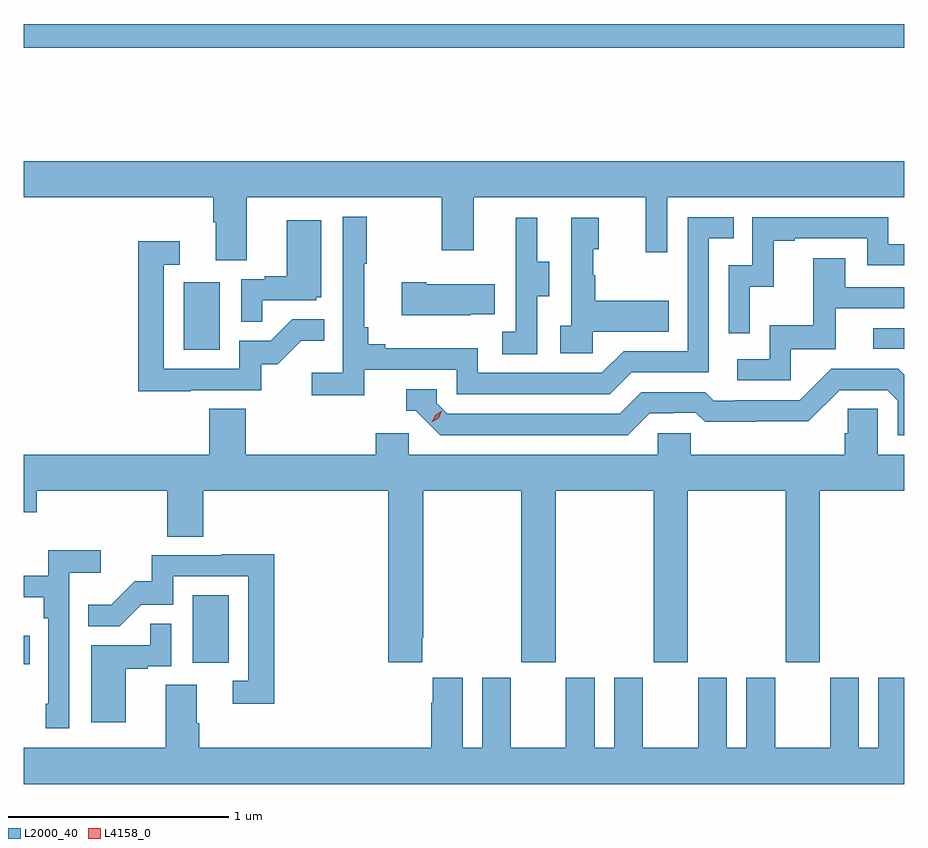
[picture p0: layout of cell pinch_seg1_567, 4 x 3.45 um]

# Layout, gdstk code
import gdstk
lib = gdstk.Library(unit=1e-6, precision=1e-09)
def R(c, l, rs):  # rectangles x0, y0, x1, y1
    for r in rs: c.add(gdstk.rectangle(r[:2], r[2:], *l))
def P(c, l, *ps):  # polygons
    for p in ps: c.add(gdstk.Polygon(p, *l))
L2000_40 = (2000, 40)
L4158_0 = (4158, 0)

pinch_seg1_567 = lib.new_cell('pinch_seg1_567')
R(pinch_seg1_567, L2000_40, [(1028.396,518.977,1028.423,519.106), (1029.164,518.982,1029.328,519.289), (1029.122,520.404,1029.286,520.711), (1032.255,520.41,1032.396,520.503), (1028.396,521.776,1032.396,521.884)])
P(pinch_seg1_567, L2000_40, [(1029.409,521.096),(1030.294,521.096),(1030.294,520.857),(1030.441,520.857),(1030.441,521.096),(1031.222,521.096),(1031.222,520.847),(1031.319,520.847),(1031.319,521.096),(1032.396,521.096),(1032.396,521.26),(1028.396,521.26),(1028.396,521.096),(1029.257,521.096),(1029.257,520.984),(1029.269,520.984),(1029.269,520.81),(1029.409,520.81)],
  [(1029.944,520.314),(1030.362,520.314),(1030.362,520.203),(1031.059,520.203),(1031.158,520.302),(1031.508,520.302),(1031.508,520.911),(1031.621,520.911),(1031.621,521.007),(1031.412,521.007),(1031.412,520.398),(1031.121,520.398),(1031.022,520.299),(1030.458,520.299),(1030.458,520.411),(1030.039,520.411),(1030.039,520.43),(1029.962,520.43),(1029.962,520.507),(1029.943,520.507),(1029.943,520.795),(1029.955,520.795),(1029.955,521.008),(1029.846,521.008),(1029.846,520.3),(1029.705,520.3),(1029.705,520.198),(1029.944,520.198)],
  [(1031.694,520.691),(1031.804,520.691),(1031.804,520.899),(1031.899,520.899),(1031.899,520.911),(1032.228,520.911),(1032.228,520.788),(1032.396,520.788),(1032.396,520.884),(1032.324,520.884),(1032.324,521.007),(1031.706,521.007),(1031.706,520.788),(1031.598,520.788),(1031.598,520.479),(1031.694,520.479)],
  [(1030.728,520.648),(1030.783,520.648),(1030.783,520.803),(1030.729,520.803),(1030.729,521.005),(1030.631,521.005),(1030.631,520.791),(1030.632,520.791),(1030.632,520.487),(1030.569,520.487),(1030.569,520.384),(1030.728,520.384)],
  [(1030.98,520.487),(1031.327,520.487),(1031.327,520.627),(1030.993,520.627),(1030.993,520.742),(1030.983,520.742),(1030.983,520.86),(1031.008,520.86),(1031.008,521.005),(1030.884,521.005),(1030.884,520.514),(1030.833,520.514),(1030.833,520.389),(1030.98,520.389)],
  [(1029.479,520.629),(1029.726,520.629),(1029.726,520.644),(1029.748,520.644),(1029.748,520.993),(1029.59,520.993),(1029.59,520.738),(1029.491,520.738),(1029.491,520.725),(1029.384,520.725),(1029.384,520.531),(1029.479,520.531)],
  [(1029.155,520.221),(1029.474,520.221),(1029.474,520.338),(1029.55,520.338),(1029.657,520.445),(1029.761,520.445),(1029.761,520.544),(1029.617,520.544),(1029.519,520.446),(1029.375,520.446),(1029.375,520.317),(1029.033,520.317),(1029.033,520.791),(1029.106,520.791),(1029.106,520.897),(1028.917,520.897),(1028.917,520.216),(1029.155,520.216)],
  [(1031.88,520.407),(1032.085,520.407),(1032.085,520.593),(1032.396,520.593),(1032.396,520.689),(1032.127,520.689),(1032.127,520.819),(1031.983,520.819),(1031.983,520.516),(1031.784,520.516),(1031.784,520.362),(1031.637,520.362),(1031.637,520.266),(1031.88,520.266)],
  [(1030.427,520.565),(1030.535,520.565),(1030.535,520.702),(1030.225,520.702),(1030.225,520.71),(1030.113,520.71),(1030.113,520.562),(1030.427,520.562)],
  [(1031.239,520.116),(1031.346,520.116),(1031.346,520.119),(1031.449,520.119),(1031.491,520.077),(1031.724,520.077),(1031.724,520.079),(1031.96,520.079),(1032.102,520.221),(1032.318,520.221),(1032.366,520.173),(1032.366,520.017),(1032.396,520.017),(1032.396,520.29),(1032.369,520.317),(1032.063,520.317),(1031.922,520.176),(1031.629,520.176),(1031.629,520.173),(1031.53,520.173),(1031.491,520.212),(1031.202,520.212),(1031.103,520.113),(1030.32,520.113),(1030.272,520.161),(1030.272,520.224),(1030.133,520.224),(1030.133,520.128),(1030.176,520.128),(1030.287,520.017),(1031.14,520.017)],
  [(1031.857,518.985),(1032.012,518.985),(1032.012,519.764),(1032.396,519.764),(1032.396,519.928),(1032.276,519.928),(1032.276,520.136),(1032.139,520.136),(1032.139,520.026),(1032.125,520.026),(1032.125,519.928),(1031.427,519.928),(1031.427,520.026),(1031.277,520.026),(1031.277,519.928),(1030.146,519.928),(1030.146,520.026),(1029.995,520.026),(1029.995,519.928),(1029.404,519.928),(1029.404,520.136),(1029.239,520.136),(1029.239,519.928),(1028.396,519.928),(1028.396,519.666),(1028.456,519.666),(1028.456,519.764),(1029.047,519.764),(1029.047,519.556),(1029.212,519.556),(1029.212,519.764),(1030.052,519.764),(1030.052,518.985),(1030.207,518.985),(1030.207,519.097),(1030.212,519.097),(1030.212,519.764),(1030.657,519.764),(1030.657,518.985),(1030.812,518.985),(1030.812,519.764),(1031.257,519.764),(1031.257,518.985),(1031.412,518.985),(1031.412,519.764),(1031.857,519.764)],
  [(1028.604,519.392),(1028.746,519.392),(1028.746,519.494),(1028.507,519.494),(1028.507,519.378),(1028.396,519.378),(1028.396,519.281),(1028.488,519.281),(1028.488,519.185),(1028.508,519.185),(1028.508,518.797),(1028.496,518.797),(1028.496,518.685),(1028.604,518.685)],
  [(1029.533,519.476),(1029.295,519.476),(1029.295,519.471),(1028.977,519.471),(1028.977,519.354),(1028.9,519.354),(1028.793,519.247),(1028.689,519.247),(1028.689,519.148),(1028.833,519.148),(1028.931,519.246),(1029.075,519.246),(1029.075,519.375),(1029.417,519.375),(1029.417,518.901),(1029.345,518.901),(1029.345,518.796),(1029.533,518.796)],
  [(1028.86,518.955),(1028.96,518.955),(1028.96,518.967),(1029.066,518.967),(1029.066,519.161),(1028.971,519.161),(1028.971,519.063),(1028.702,519.063),(1028.702,518.712),(1028.86,518.712)],
  [(1032.396,518.914),(1032.278,518.914),(1032.278,518.596),(1032.19,518.596),(1032.19,518.914),(1032.059,518.914),(1032.059,518.596),(1031.809,518.596),(1031.809,518.914),(1031.678,518.914),(1031.678,518.596),(1031.59,518.596),(1031.59,518.914),(1031.459,518.914),(1031.459,518.596),(1031.209,518.596),(1031.209,518.914),(1031.078,518.914),(1031.078,518.596),(1030.99,518.596),(1030.99,518.914),(1030.859,518.914),(1030.859,518.596),(1030.609,518.596),(1030.609,518.914),(1030.478,518.914),(1030.478,518.596),(1030.39,518.596),(1030.39,518.914),(1030.253,518.914),(1030.253,518.801),(1030.247,518.801),(1030.247,518.596),(1029.194,518.596),(1029.194,518.708),(1029.181,518.708),(1029.181,518.882),(1029.041,518.882),(1029.041,518.596),(1028.396,518.596),(1028.396,518.432),(1032.396,518.432)])
P(pinch_seg1_567, L4158_0, [(1030.25,520.074),(1030.25,520.074),(1030.265,520.107),(1030.295,520.127),(1030.296,520.127),(1030.296,520.127),(1030.281,520.094),(1030.25,520.074)])

lib.write_gds('pinch_seg1_567.gds')
